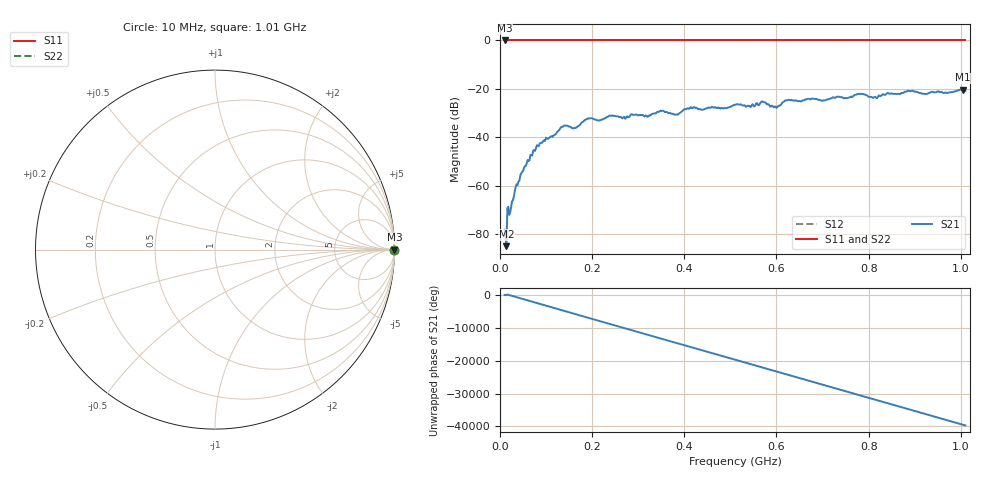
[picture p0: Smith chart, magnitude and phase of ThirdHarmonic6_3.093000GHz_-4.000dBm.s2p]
! 8/17/2025 9:06:05 AM
! C:\ANRITSUVNA\TEMP\TEMP.S2P
! CHANNEL.1
! TR.MEASUREMENT
! RAW.DATA
! RF.CORRECTION.OFF
! AVERAGING.OFF
! IF.BANDWIDTH: 5KHZ
! SWEEPTYPE:  FREQ.SWEEP(Linear)
! Reference Plane Port Info
! PORT:  PORT1  PORT2
! DISTANCE:  0  m  0  m
! TIME:  0  s  0  s
! PHASE.OFFSET:  0  deg.  0  deg.
! LOSS:  0  dB  0  dB
! REF.LOSS:  0  dB  0  dB
! REF.FREQ:  0  Hz  0  Hz
! Power Info
! POWER:  -20  dBm  -20  dBm
! EFF.POWER:  -20  dBm  -20  dBm
! SOURCE.ATTEN:  0  dB  0  dB
! TEST.ATTEN:  0  dB  0  dB
# GHZ S RI R 50.0
! FREQ.GHZ  S11RE  S11IM  S21RE  S21IM  S12RE  S12IM  S22RE  S22IM
!; PortSelection: Port_12
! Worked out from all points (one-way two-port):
!   501 points, 10 MHz to 1.01 GHz, reference 50 ohm
!   highest |S21| = -20.27 dB at 1.004 GHz (marker M1); lowest = -84.9 dB at 14 MHz (marker M2)
!   lowest |S11| = 0.0 dB at 10 MHz (marker M3)
!   |S11| at or under -10 dB: nowhere
!   |S22| runs from 0.0 to 0.0 dB; largest |S21 - S12| = 1.1
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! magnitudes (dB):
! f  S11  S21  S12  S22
! 10 MHz  0.0  -78.1  0.0  0.0
! 14 MHz  0.0  -84.9  0.0  0.0
! 36 MHz  0.0  -59.4  0.0  0.0
! 76 MHz  0.0  -45.6  0.0  0.0
! 136 MHz  0.0  -35.7  0.0  0.0
! 162 MHz  0.0  -36.0  0.0  0.0
! 178 MHz  0.0  -33.7  0.0  0.0
! 194 MHz  0.0  -32.2  0.0  0.0
! 322 MHz  0.0  -31.2  0.0  0.0
! 344 MHz  0.0  -29.5  0.0  0.0
! 382 MHz  0.0  -30.6  0.0  0.0
! 418 MHz  0.0  -27.9  0.0  0.0
! 510 MHz  0.0  -26.5  0.0  0.0
! 572 MHz  0.0  -25.4  0.0  0.0
! 598 MHz  0.0  -27.3  0.0  0.0
! 622 MHz  0.0  -24.8  0.0  0.0
! 678 MHz  0.0  -24.0  0.0  0.0
! 780 MHz  0.0  -22.1  0.0  0.0
! 814 MHz  0.0  -23.3  0.0  0.0
! 844 MHz  0.0  -21.9  0.0  0.0
! 1.004 GHz  0.0  -20.3  0.0  0.0
! 1.01 GHz  0.0  -20.8  0.0  0.0
